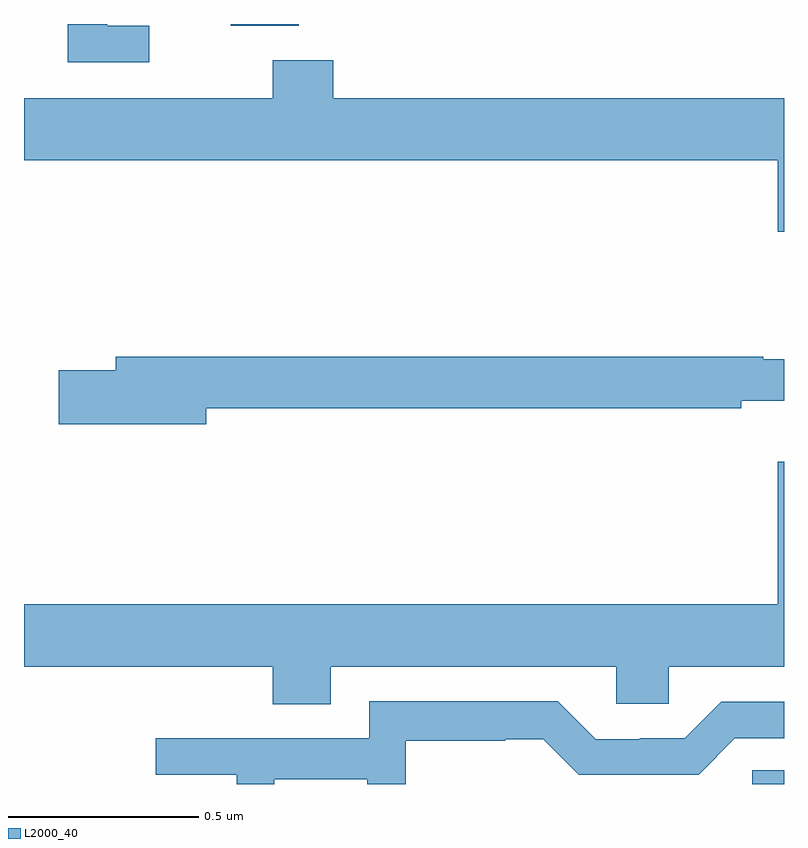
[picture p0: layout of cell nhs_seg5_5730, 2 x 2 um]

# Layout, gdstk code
import gdstk
lib = gdstk.Library(unit=1e-6, precision=1e-09)
def R(c, l, rs):  # rectangles x0, y0, x1, y1
    for r in rs: c.add(gdstk.rectangle(r[:2], r[2:], *l))
def P(c, l, *ps):  # polygons
    for p in ps: c.add(gdstk.Polygon(p, *l))
L2000_40 = (2000, 40)

nhs_seg5_5730 = lib.new_cell('nhs_seg5_5730')
R(nhs_seg5_5730, L2000_40, [(188.916,841.799,189,841.835), (187.544,843.794,187.723,843.799)])
P(nhs_seg5_5730, L2000_40, [(187.33,843.795),(187.219,843.795),(187.219,843.799),(187.115,843.799),(187.115,843.699),(187.33,843.699)],
  [(189,843.604),(187.814,843.604),(187.814,843.703),(187.654,843.703),(187.654,843.604),(187,843.604),(187,843.44),(188.984,843.44),(188.984,843.252),(189,843.252)],
  [(187.48,842.788),(188.888,842.788),(188.888,842.807),(189,842.807),(189,842.917),(188.945,842.917),(188.945,842.924),(187.241,842.924),(187.241,842.888),(187.092,842.888),(187.092,842.746),(187.48,842.746)],
  [(187.807,842.108),(188.559,842.108),(188.559,842.01),(188.697,842.01),(188.697,842.108),(189,842.108),(189,842.647),(188.984,842.647),(188.984,842.272),(187,842.272),(187,842.108),(187.655,842.108),(187.655,842.009),(187.807,842.009)],
  [(187.659,841.812),(187.903,841.812),(187.903,841.799),(188.004,841.799),(188.004,841.913),(188.267,841.913),(188.267,841.917),(188.367,841.917),(188.46,841.824),(188.775,841.824),(188.871,841.92),(189,841.92),(189,842.016),(188.835,842.016),(188.739,841.92),(188.621,841.92),(188.621,841.917),(188.505,841.917),(188.405,842.017),(187.908,842.017),(187.908,841.92),(187.347,841.92),(187.347,841.824),(187.56,841.824),(187.56,841.799),(187.659,841.799)])

lib.write_gds('nhs_seg5_5730.gds')
